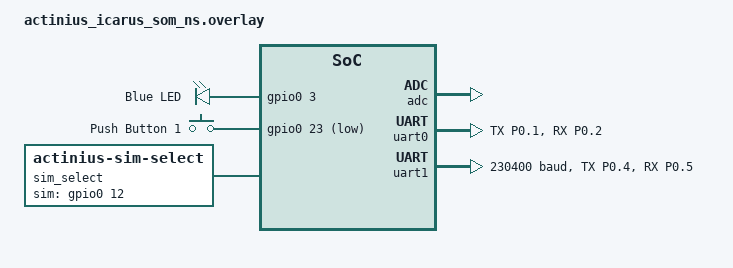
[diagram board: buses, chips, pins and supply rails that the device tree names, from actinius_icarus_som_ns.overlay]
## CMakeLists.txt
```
# SPDX-License-Identifier: Apache-2.0

cmake_minimum_required(VERSION 3.20.0)

find_package(Zephyr REQUIRED HINTS $ENV{ZEPHYR_BASE})
project(nRF9160_LTE_Uart_Gateway_for_MultipleLteDevice)

target_sources(app PRIVATE src/main.c)

target_sources(app PRIVATE src/nrf91/nrf91_lte.c)
target_sources(app PRIVATE src/nrf91/nrf91_at_commands.c)
target_sources(app PRIVATE src/nrf91/nrf91_util.c)

target_sources(app PRIVATE src/gateway.c)
target_sources(app PRIVATE src/arp_cache.c)
target_sources(app PRIVATE src/pmap.c)
target_sources(app PRIVATE src/hdr_uart.c)
target_sources(app PRIVATE src/ip_util.c)
```

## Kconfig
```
#
# Copyright (c) 2019 Nordic Semiconductor
#
# SPDX-License-Identifier: LicenseRef-Nordic-5-Clause
#

source "Kconfig.zephyr"

menu "nRF9160"

config SIM_SAKURA_IOT
	bool "SAKURA IoT SIM (44020,44051,44010)"
	default n

config SIM_SORACOM_PLAN_D
	bool "SORACOM PLAN-D SIM (44010)"
	default n

module = NRF91
module-str = nRF9160
source "${ZEPHYR_BASE}/subsys/logging/Kconfig.template.log_config"


endmenu
```

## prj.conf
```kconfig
#
# Copyright (c) 2020 Nordic Semiconductor ASA
#
# SPDX-License-Identifier: LicenseRef-Nordic-5-Clause
#

CONFIG_TRUSTED_EXECUTION_NONSECURE=y


#CONFIG_DEBUG=y
CONFIG_REBOOT=y

CONFIG_FPU=n
CONFIG_CMSIS_DSP=n

CONFIG_STACK_SENTINEL=y
CONFIG_NEWLIB_LIBC=y
CONFIG_NEWLIB_LIBC_FLOAT_PRINTF=y


CONFIG_GPIO=y

#CONFIG_PM_DEVICE=y

CONFIG_STDOUT_CONSOLE=y
CONFIG_SERIAL=y
CONFIG_NRFX_UARTE0=y
CONFIG_NRFX_UARTE1=y
#CONFIG_NRFX_UARTE2=y
CONFIG_LOG=y
CONFIG_LOG_MODE_IMMEDIATE=y
CONFIG_LOG_DEFAULT_LEVEL=3
CONFIG_PRINTK=y
CONFIG_UART_CONSOLE=y
CONFIG_CONSOLE_HANDLER=n
CONFIG_UART_LINE_CTRL=y
CONFIG_UART_INTERRUPT_DRIVEN=y
CONFIG_UART_ASYNC_API=n
CONFIG_UART_1_INTERRUPT_DRIVEN=y
#CONFIG_UART_1_ASYNC=n

CONFIG_USE_SEGGER_RTT=n
#CONFIG_RTT_CONSOLE=n
#CONFIG_LOG_BACKEND_RTT=n

CONFIG_NETWORKING=y
CONFIG_NET_SOCKETS=y
CONFIG_NET_SOCKETS_OFFLOAD=y
CONFIG_NET_NATIVE=n


CONFIG_NRF_MODEM_LIB=y
CONFIG_POSIX_MAX_FDS=10
CONFIG_NRF_MODEM_LIB_ON_FAULT_APPLICATION_SPECIFIC=n

#CONFIG_HEAP_MEM_POOL_SIZE=4096
CONFIG_HEAP_MEM_POOL_SIZE=4096
CONFIG_MAIN_STACK_SIZE=4096
#CONFIG_MAIN_STACK_SIZE=16384
#CONFIG_MAIN_STACK_SIZE=4096
#CONFIG_MAIN_STACK_SIZE=20000
#CONFIG_SYSTEM_WORKQUEUE_STACK_SIZE=4096

CONFIG_LTE_LINK_CONTROL=y
#CONFIG_LTE_AUTO_INIT_AND_CONNECT=n
#CONFIG_MAIN_THREAD_PRIORITY=7
#CONFIG_LTE_PSM_REQ_RPTAU="00100110"
#CONFIG_LTE_PSM_REQ_RAT="00000000"
#CONFIG_LTE_LC_TAU_PRE_WARNING_NOTIFICATIONS=y
#CONFIG_LTE_LC_MODEM_SLEEP_NOTIFICATIONS=y
#CONFIG_AT_HOST_LIBRARY=n

CONFIG_DATE_TIME=n
CONFIG_MODEM_INFO=y
CONFIG_MODEM_INFO_ADD_DATE_TIME=n
CONFIG_AT_MONITOR=y
CONFIG_MODEM_JWT=n

CONFIG_NEWLIB_LIBC_MIN_REQUIRED_HEAP_SIZE=2048

CONFIG_SIM_SORACOM_PLAN_D=y
CONFIG_SIM_SAKURA_IOT=n
```

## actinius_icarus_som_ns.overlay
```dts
// To get started, press Ctrl+Space (or Option+Esc) to bring up the completion menu and view the available nodes.

// You can also use the buttons in the sidebar to perform actions on nodes.
// Actions currently available include:

// * Enabling / disabling the node
// * Adding the bus to a bus
// * Removing the node
// * Connecting ADC channels

// For more help, browse the DeviceTree documentation at https://docs.zephyrproject.org/latest/guides/dts/index.html
// You can also visit the nRF DeviceTree extension documentation at https://nrfconnect.github.io/vscode-nrf-connect/devicetree/nrfdevicetree.html
/*
 * Copyright (c) 2022 Actinius
 *
 * SPDX-License-Identifier: Apache-2.0
 */
 /delete-node/ &storage_partition;
 / {
     chosen {
         zephyr,console = &uart0;
         //zephyr,shell-uart = &uart1;
         //zephyr,uart-mcumgr = &uart1;
         //nordic,pm-ext-flash = &w25q64;
     };
 
     leds {
         compatible = "gpio-leds";
 
         blue_led: led_0 {
             gpios = <&gpio0 3 GPIO_ACTIVE_HIGH>;
             label = "Blue LED";
         };
     };
 
     buttons {
         compatible = "gpio-keys";
 
         button0: button_0 {
             gpios = <&gpio0 23 (GPIO_PULL_UP | GPIO_ACTIVE_LOW)>;
             label = "Push Button 1";
         };
     };
 
     aliases {
         led0 = &blue_led;
         sw0 = &button0;
         bootloader-led0 = &blue_led;
         mcuboot-button0 = &button0;
         mcuboot-led0 = &blue_led;
         watchdog0 = &wdt0;
     };
     sim_select: sim-select {
         compatible = "actinius-sim-select";
         sim-gpios = <&gpio0 12 GPIO_ACTIVE_HIGH>;
         sim = "external";
     };
 };
 


 &adc {
     status ="okay";
 };
 
 &gpiote {
     status = "okay";
 };
 
 &gpio0 {
     status = "okay";
 };
 
// &uart0 {
//     status = "disabled";
// };
// &uart1 {
//    status = "okay";
//
//    current-speed = <115200>;
//    pinctrl-0 = <&uart1_default>;
//    pinctrl-1 = <&uart1_sleep>;
//    pinctrl-names = "default", "sleep";
//};
 
 &i2c2 {
     status = "disabled";
 };

//&spi2 {
//    compatible = "nordic,nrf-spim";
//    status = "okay";
//
//    cs-gpios = <&gpio0 0 GPIO_ACTIVE_LOW>;
//
//    pinctrl-0 = <&spi2_default>;
//    pinctrl-1 = <&spi2_sleep>;
//    pinctrl-names = "default", "sleep";
//}; 


 &spi3 {
     compatible = "nordic,nrf-spim";
     status = "disabled";
 
     //cs-gpios = <&gpio0 24 GPIO_ACTIVE_LOW>;
 
     //pinctrl-0 = <&spi3_default>;
     //pinctrl-1 = <&spi3_sleep>;
     //pinctrl-names = "default", "sleep";
     //w25q64: w25q64jv@0 {
     //    compatible = "jedec,spi-nor";
     //    reg = <0>;
     //    spi-max-frequency = <80000000>;
     //    jedec-id = [ef 40 17];
     //    size = <0x4000000>;
     //    has-dpd;
     //    t-enter-dpd = <3500>;
     //    t-exit-dpd = <3500>;
     //};
 };

&spi1 {
    status = "disabled";
};
&uart0 {
	pinctrl-0 = <&uart00_default>;
	pinctrl-1 = <&uart00_sleep>;
};
gw_uart: &uart1 {
	compatible = "nordic,nrf-uarte";
	reg = <0x9000 0x1000>;
	interrupts = <9 NRF_DEFAULT_IRQ_PRIORITY>;
	pinctrl-0 = <&uart1_default>;
	pinctrl-1 = <&uart1_sleep>;
	//current-speed = <1000000>;
	//current-speed = <460800>;
	current-speed = <230400>;
	//current-speed = <115200>;
	status = "okay";
	pinctrl-names = "default", "sleep";
};


&pinctrl {
	uart00_default: uart00_default {
		group1 {
			psels = <NRF_PSEL(UART_TX, 0, 1)>,
				<NRF_PSEL(UART_RX, 0, 2)>;
		};
	};
	uart00_sleep: uart00_sleep {
		group1 {
			psels = <NRF_PSEL(UART_TX, 0, 1)>,
				<NRF_PSEL(UART_RX, 0, 2)>;
			low-power-enable;
		};
	};
	uart1_default: uart1_default {
		group1 {
			psels = <NRF_PSEL(UART_TX, 0, 4)>,
				<NRF_PSEL(UART_RX, 0, 5)>;
		};
	};
	uart1_sleep: uart1_sleep {
		group1 {
			psels = <NRF_PSEL(UART_TX, 0, 4)>,
				<NRF_PSEL(UART_RX, 0, 5)>;
			low-power-enable;
		};
	};
	//spi2_default: spi2_default {
	//	group1 {
	//		psels = <NRF_PSEL(SPIM_SCK, 0, 20)>,
	//			<NRF_PSEL(SPIM_MOSI, 0, 19)>,
	//			<NRF_PSEL(SPIM_MISO, 0, 18)>;
	//	};
	//};
	//spi2_sleep: spi2_sleep {
	//	group1 {
	//		psels = <NRF_PSEL(SPIM_SCK, 0, 20)>,
	//			<NRF_PSEL(SPIM_MOSI, 0, 19)>,
	//			<NRF_PSEL(SPIM_MISO, 0, 18)>;
	//		low-power-enable;
	//	};
 //   };

    // spi1_default: spi1_default {
    //     group1 {
    //         psels = <NRF_PSEL(SPIM_SCK, 0,27)>,
    //             <NRF_PSEL(SPIM_MISO, 0, 26)>,
    //             <NRF_PSEL(SPIM_MOSI, 0, 0)>;
    //     };
    // };
    // spi1_sleep: spi1_sleep {
    //     group1 {
    //         psels = <NRF_PSEL(SPIM_SCK, 0,27)>,
    //             <NRF_PSEL(SPIM_MISO, 0, 26)>,
    //             <NRF_PSEL(SPIM_MOSI, 0, 0)>;
    //         low-power-enable;
    //     };
    // };

	//spi3_default: spi3_default {
	//	group1 {
	//		psels = <NRF_PSEL(SPIM_SCK, 0, 22)>,
	//			<NRF_PSEL(SPIM_MOSI, 0, 25)>,
	//			<NRF_PSEL(SPIM_MISO, 0, 21)>;
	//	};
	//};
	//spi3_sleep: spi3_sleep {
	//	group1 {
	//		psels = <NRF_PSEL(SPIM_SCK, 0, 22)>,
	//			<NRF_PSEL(SPIM_MOSI, 0, 25)>,
	//			<NRF_PSEL(SPIM_MISO, 0, 21)>;
	//		low-power-enable;
	//	};
	//};
};
 
```

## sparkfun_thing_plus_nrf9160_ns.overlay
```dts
// To get started, press Ctrl+Space (or Option+Esc) to bring up the completion menu and view the available nodes.

// You can also use the buttons in the sidebar to perform actions on nodes.
// Actions currently available include:

// * Enabling / disabling the node
// * Adding the bus to a bus
// * Removing the node
// * Connecting ADC channels

// For more help, browse the DeviceTree documentation at https://docs.zephyrproject.org/latest/guides/dts/index.html
// You can also visit the nRF DeviceTree extension documentation at https://nrfconnect.github.io/vscode-nrf-connect/devicetree/nrfdevicetree.html
///delete-node/ &uart2_default;
///delete-node/ &uart2_sleep;
/ {
    chosen {
        zephyr,console = &uart2;
        zephyr,shell-uart = &uart2;
        zephyr,uart-mcumgr = &uart2;
        nordic,pm-ext-flash = &w25q32jv;
    };
};
&uart0 {
	status = "disabled";
};
//&uart0 {
//	compatible = "nordic,nrf-uarte";
//	reg = <0x8000 0x1000>;
//	interrupts = <8 NRF_DEFAULT_IRQ_PRIORITY>;
//	pinctrl-0 = <&uart00_default>;
//	pinctrl-1 = <&uart00_sleep>;
//	status = "okay";
//	current-speed = <115200>;
//	pinctrl-names = "default", "sleep";
//};
&uart2 {
	compatible = "nordic,nrf-uarte";
	reg = <0xA000 0x1000>;
	interrupts = <10 NRF_DEFAULT_IRQ_PRIORITY>;
	pinctrl-0 = <&uart00_default>;
	pinctrl-1 = <&uart00_sleep>;
	status = "okay";
	current-speed = <115200>;
	pinctrl-names = "default", "sleep";
};
&i2c1 {
	status = "disabled";
};
gw_uart: &uart1 {
	compatible = "nordic,nrf-uarte";
	reg = <0x9000 0x1000>;
	interrupts = <9 NRF_DEFAULT_IRQ_PRIORITY>;
	pinctrl-0 = <&uart1_default>;
	pinctrl-1 = <&uart1_sleep>;
	status = "okay";
	//current-speed = <1000000>;
	//current-speed = <460800>;
	current-speed = <230400>;
	//current-speed = <115200>;
	pinctrl-names = "default", "sleep";
};
&spi3 {
	status = "okay";
	w25q32jv: w25q32jv@0 {
		status = "okay";
	};
};
&pinctrl {
	uart00_default: uart00_default {
		group1 {
			psels = <NRF_PSEL(UART_TX, 0, 0)>,
				<NRF_PSEL(UART_RX, 0, 1)>;
		};
	};
	uart00_sleep: uart00_sleep {
		group1 {
			psels = <NRF_PSEL(UART_TX, 0, 0)>,
				<NRF_PSEL(UART_RX, 0, 1)>;
		};
	};
	uart1_default: uart1_default {
		group1 {
			psels = <NRF_PSEL(UART_TX, 0, 24)>,
				<NRF_PSEL(UART_RX, 0, 23)>;
		};
	};
	uart1_sleep: uart1_sleep {
		group1 {
			psels = <NRF_PSEL(UART_TX, 0, 24)>,
				<NRF_PSEL(UART_RX, 0, 23)>;
		};
	};
};
```

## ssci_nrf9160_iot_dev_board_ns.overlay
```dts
// To get started, press Ctrl+Space (or Option+Esc) to bring up the completion menu and view the available nodes.

// You can also use the buttons in the sidebar to perform actions on nodes.
// Actions currently available include:

// * Enabling / disabling the node
// * Adding the bus to a bus
// * Removing the node
// * Connecting ADC channels

// For more help, browse the DeviceTree documentation at https://docs.zephyrproject.org/latest/guides/dts/index.html
// You can also visit the nRF DeviceTree extension documentation at https://nrfconnect.github.io/vscode-nrf-connect/devicetree/nrfdevicetree.html
/ {
    chosen {
        zephyr,console = &uart0;
        //zephyr,shell-uart = &uart0;
        //zephyr,uart-mcumgr = &uart0;
        //nordic,pm-ext-flash = &mx25r64;
    };
};
/delete-node/ &uart0_default;
/delete-node/ &uart0_sleep;
&uart0 {
	compatible = "nordic,nrf-uarte";
	reg = <0x8000 0x1000>;
	interrupts = <8 NRF_DEFAULT_IRQ_PRIORITY>;
	pinctrl-0 = <&uart00_default>;
	pinctrl-1 = <&uart00_sleep>;
	status = "okay";
	current-speed = <115200>;
	pinctrl-names = "default", "sleep";
};
&i2c2 {
	status = "disabled";
};

gw_uart: &uart1 {
	compatible = "nordic,nrf-uarte";
	reg = <0x9000 0x1000>;
	interrupts = <9 NRF_DEFAULT_IRQ_PRIORITY>;
	pinctrl-0 = <&uart1_default>;
	pinctrl-1 = <&uart1_sleep>;
	status = "okay";
	//current-speed = <1000000>;
	//current-speed = <460800>;
	current-speed = <230400>;
	//current-speed = <115200>;
	pinctrl-names = "default", "sleep";
};
&spi3 {
	status = "okay";
	mx25r64: mx25r6435f@0 {
		status = "okay";
	};
};
&pinctrl {
	uart00_default: uart00_default {
		group1 {
			psels = <NRF_PSEL(UART_TX, 0, 29)>,
				<NRF_PSEL(UART_RX, 0, 28)>;
		};
	};
	uart00_sleep: uart00_sleep {
		group1 {
			psels = <NRF_PSEL(UART_TX, 0, 29)>,
				<NRF_PSEL(UART_RX, 0, 28)>;
		};
	};
	uart1_default: uart1_default {
		group1 {
			psels = <NRF_PSEL(UART_TX, 0, 7)>,
				<NRF_PSEL(UART_RX, 0, 5)> ;
		};
	};
	uart1_sleep: uart1_sleep {
		group1 {
			psels = <NRF_PSEL(UART_TX, 0, 7)>,
				<NRF_PSEL(UART_RX, 0, 5)>;
		};
	};
};
```

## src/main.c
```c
/*
 * Copyright (c) 2024 Akihiro Sakaniwa
 *
 * SPDX-License-Identifier: MIT License
 */
#include <zephyr/logging/log.h>
#include <zephyr/logging/log_ctrl.h>
#include <zephyr/net/net_pkt.h>
#include <stdio.h>
#include <stdlib.h>
#include <string.h>
#include <stdio.h>

#include <zephyr/kernel.h>
#include <zephyr/device.h>
#include <zephyr/devicetree.h>
#include <zephyr/drivers/uart.h>
#include <zephyr/drivers/gpio.h>

#include <modem/at_monitor.h>
#include <nrf_modem.h>
#include <nrf_errno.h>
#include <hal/nrf_gpio.h>
#include <hal/nrf_power.h>
#include <hal/nrf_regulators.h>
#include <modem/nrf_modem_lib.h>
#include <dfu/dfu_target.h>
#include <zephyr/sys/reboot.h>
#include <zephyr/init.h>
#include <zephyr/sys/reboot.h>
#include "ncs_version.h"

#include <nrf_socket.h>
#include <zephyr/net/socket.h>

#include "nrf91/nrf91_lte.h"

#include <modem/at_monitor.h>
#include <modem/modem_info.h>

#include "nrf91/nrf91_lte.h"
#include "nrf91/nrf91_util.h"

#include "main.h"
LOG_MODULE_REGISTER(main, CONFIG_NRF91_LOG_LEVEL);

volatile bool on_req_eth_thread_terminate = false;
volatile bool on_eth_rx_thread_terminate = false;
volatile bool on_eth_tx_thread_terminate = false;
extern int gw_start(void);



const struct device *gpio_dev;
const struct device *gw_uart_dev;

extern struct nrf91_lte_ctx lte_ctx;
extern struct nrf91_http_ctx http_ctx;

extern void nrf91_lte_main(int (*cbf)(void));
extern bool nrf91_lte_thread_start(void);

volatile bool is_on_buttun_up = false;
volatile bool is_on_buttun_up_mask = false;

//////////////////////////////////////////////////////////////////////////////////////////////////////
void button_callback_handler(const struct device *port, struct gpio_callback *cb, gpio_port_pins_t pins)
{
  printk("\r\n(%08x)!\r\n",pins);
  if ((BIT(btn_pin) & pins) > 0) 
  {
      if (!is_on_buttun_up_mask) is_on_buttun_up = true;
  }
}
static struct gpio_callback button_callback;
////////////////////////////////////////////////////////////////////////////////////////////////////
void error_handler(void)
{
    LOG_WRN("\r\n### POWER-OFF ###\r\n");
    while (1)
    {
        k_sleep(K_MSEC(100));
    }
}
////////////////////////////////////////////////////////////////////////////////////////////////////
void status_pin_on(void)
{
    gpio_pin_set(gpio_dev,status_pin,1);
}
void status_pin_off(void)
{
    gpio_pin_set(gpio_dev,status_pin,0);
}
void status_led_on(void)
{
    gpio_pin_set(gpio_dev,status_led_pin,1);
}
void status_led_off(void)
{
    gpio_pin_set(gpio_dev,status_led_pin,0);
}
int read_btn(void)
{
  return gpio_pin_get(gpio_dev, btn_pin);
}
extern uint8_t my_addr[4];
extern uint8_t uart_txb[2048];
extern volatile uint16_t uart_txb_size;
#include "hdr_uart.h"
static int cbf_main(void)
{
    k_sleep(K_MSEC(10*1000));
    return 0;
}
////////////////////////////////////////////////////////////////////////////////////////////////////
extern void gw_uart_serial_cb(const struct device *dev, void *user_data);
int main(void)
{
    printk("%s\r\n", CONFIG_BOARD);

#ifdef CONFIG_SERIAL
    NRF_UARTE0_NS->TASKS_STOPRX = 1;
    //NRF_UARTE1_NS->TASKS_STOPRX = 1;
    //NRF_UARTE1_NS->TASKS_STOPRX = 1;
#endif

    gpio_dev = DEVICE_DT_GET(DT_NODELABEL(gpio0)); 
    #ifdef CONFIG_BOARD_SPARKFUN_THING_PLUS_NRF9160_NS
    gpio_pin_configure(gpio_dev, status_led_pin , GPIO_OUTPUT | GPIO_PUSH_PULL | GPIO_ACTIVE_LOW);
    gpio_pin_configure(gpio_dev, btn_pin , GPIO_INPUT  | GPIO_PULL_UP   | GPIO_ACTIVE_HIGH);
    //gpio_pin_configure(gpio_dev, buz_pin , GPIO_OUTPUT | GPIO_PUSH_PULL | GPIO_ACTIVE_HIGH);
    #else
    gpio_pin_configure(gpio_dev, status_led_pin , GPIO_OUTPUT | GPIO_PUSH_PULL | GPIO_ACTIVE_HIGH);
    gpio_pin_configure(gpio_dev, btn_pin , GPIO_INPUT  | GPIO_PULL_UP   | GPIO_ACTIVE_HIGH);
    //gpio_pin_configure(gpio_dev, buz_pin , GPIO_OUTPUT | GPIO_PUSH_PULL | GPIO_ACTIVE_HIGH);
    #endif
    gpio_pin_configure(gpio_dev, status_pin , GPIO_OUTPUT | GPIO_PUSH_PULL | GPIO_ACTIVE_LOW);
    status_pin_off();
    status_led_off();

	gw_uart_dev = DEVICE_DT_GET(DT_NODELABEL(gw_uart));
	if (!device_is_ready(gw_uart_dev)) {
		printk("GW-UART device not found!");
		return 0;
	}

    gpio_init_callback(&button_callback, button_callback_handler, BIT(btn_pin));
    gpio_add_callback(gpio_dev, &button_callback);
    gpio_pin_interrupt_configure(gpio_dev, btn_pin, GPIO_INT_EDGE_RISING);

    int ret = nrf_modem_lib_init();
    if (ret)
    {
        LOG_ERR("Modem library init failed, err: %d", ret);
        if (ret != -EAGAIN && ret != -EIO)
        {
            return ret;
        }
        else if (ret == -EIO)
        {
            LOG_ERR("Please program full modem firmware with the bootloader or external tools");
        }
    }
    int err = modem_info_init();
    if (err)
    {
        LOG_ERR("Failed to init modem_info_init: %d", err);
        return(0);
    }
    if (0 != gw_start()) return 0;
    nrf91_lte_main(cbf_main);

    return 0;
}
// EOF //
```

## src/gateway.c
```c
/*
 * Copyright (c) 2024 Akihiro Sakaniwa
 *
 * SPDX-License-Identifier: MIT License
 */
#include <zephyr/logging/log.h>
#include <zephyr/logging/log_ctrl.h>

#include <stdio.h>
#include <stdlib.h>
#include <string.h>
#include <stdio.h>

#include <zephyr/kernel.h>
#include <modem/modem_info.h>
#include <zephyr/posix/poll.h>

#include <zephyr/net/socket.h>
#include <zephyr/posix/poll.h>
#include <zephyr/posix/sys/socket.h>

#include "nrf91/nrf91_lte.h"
#include "main.h"
#include "hdr_uart.h"
#include "ip_util.h"

LOG_MODULE_REGISTER(gateway, CONFIG_NRF91_LOG_LEVEL);

K_MSGQ_DEFINE(uart_cmd_msgq, 1, 8, 1);
K_MSGQ_DEFINE(uart_pkt_msgq, NRF9160_MTU, 8, 128);
K_MSGQ_DEFINE(lte_msgq     , NRF9160_MTU, 8, 128);

extern const struct device *gw_uart_dev;

#define RX_THREAD_STACK_SIZE    KB(4)
#define TX_THREAD_STACK_SIZE    KB(4)
#define THREAD_PRIORITY     K_LOWEST_APPLICATION_THREAD_PRIO
//#define THREAD_PRIORITY     CONFIG_NUM_PREEMPT_PRIORITIES
//#define THREAD_PRIORITY     K_HIGHEST_APPLICATION_THREAD_PRIO

static struct k_thread lte_rx_thread;
static K_THREAD_STACK_DEFINE(lte_rx_thread_stack, RX_THREAD_STACK_SIZE);
static k_tid_t lte_rx_thread_id;

static struct k_thread lte_tx_thread;
static K_THREAD_STACK_DEFINE(lte_tx_thread_stack, TX_THREAD_STACK_SIZE);
static k_tid_t lte_tx_thread_id;


extern uint8_t my_addr[4];
//static volatile bool raw_socket_lock = false;
static volatile int raw_socket = -1;
//static volatile bool lock_lte_txb = false;

static volatile bool on_req_gw_thread_terminate = false;
static volatile bool on_lte_rx_thread_terminate = false;
static volatile bool on_lte_tx_thread_terminate = false;

////////////////////////////////////////////////////////////////////////////////
static uint8_t uart_txb[NRF9160_MTU];
static uint8_t lte_txb[NRF9160_MTU];
static void gw_lte_tx_thread(void *p1, void *p2, void *p3)
{
    on_lte_tx_thread_terminate = false;
    ARG_UNUSED(p1);
    ARG_UNUSED(p2);
    ARG_UNUSED(p3);
    while (!on_req_gw_thread_terminate)
    {
        while (k_msgq_get(&uart_pkt_msgq, &uart_txb, K_NO_WAIT) == 0)
        {
            uint16_t pkt_sz = ((uint16_t)uart_txb[2] << 8) + (uint16_t)uart_txb[3];
            uart_poll_out(gw_uart_dev,STX);
            for (int i=0;i<(pkt_sz);i++)
            {
                gw_write_frame_byte(uart_txb[i]);
            }
            uart_poll_out(gw_uart_dev,ETX);
//printk("++ ETH SEND ++\r\n");
//for (int i = 0; i < MIN(1280,pkt_sz) ; i++)
//{
//    if (i % 16 == 0) printk("\r\n");
//    printk("%02x ",uart_txb[i]);
//
//}
//printk("\r\n++++++++++\r\n");
        }
        while (k_msgq_get(&lte_msgq, &lte_txb, K_NO_WAIT) == 0)
        {
            if (is_cgev_act() && !is_cgev_detach() && raw_socket != -1)
            {
                uint16_t pkt_sz = ((uint16_t)lte_txb[2] << 8) + (uint16_t)lte_txb[3];
//printk("XX LTE SEND XX\r\n");
//for (int i = 0; i < MIN(1280,pkt_sz) ; i++)
//{
//    if (i % 16 == 0) printk("\r\n");
//    printk("%02x ",lte_txb[i]);
//
//}
//printk("\r\nXXXXXXX\r\n");
                ssize_t sz = send(raw_socket,lte_txb,pkt_sz,0);
//printk("lte send %d / %u\r\n",sz, pkt_sz);
                if (sz <= 0)
                {
                    LOG_WRN("send err (%d) (%d)",-errno,sz);
                }
            }
        }
        k_sleep(K_MSEC(100));
    }
    on_lte_tx_thread_terminate = true;
}

static volatile bool gw_l0_rx_in_frame = false;
static volatile bool gw_l0_rx_in_escape = false;
static volatile uint16_t gw_packet_sz = 0;
static uint8_t gw_packet[GW_MAX_PACKET_SIZE];
void gw_uart_serial_cb(const struct device *dev, void *user_data)
{
	if (!uart_irq_update(gw_uart_dev))
    {
		return;
	}
    if (!uart_irq_rx_ready(gw_uart_dev))
    {
        return;
    }
    uint8_t c;
    while (1 == uart_fifo_read(gw_uart_dev,&c,1))
    {
        //if (0 != uart_poll_in(gw_uart_dev,&c))
        //{
        //    break;
        //}
        // L0 DATAFRAME OPERATION
        if (!gw_l0_rx_in_frame)
        {
//printk("-- L0 %02X\r\n",c);
            switch (c)
            {
            case 0x00:
                continue;
            case STX:
                gw_packet_sz = 0;
                gw_l0_rx_in_frame = true;
                continue;
            default:
                // L0 frame-error ---> ignore
                continue;
            }
        }
        if (gw_l0_rx_in_escape)
        {
            switch (c)
            {
            case STX:
            case ETX:
            case DLE:
//printk("-- L0 ESC %02X\r\n",c);
                gw_l0_rx_in_escape = false;
                gw_l0_rx_in_frame  = true;
                break;
            default:
printk("-- L0 ESC ERROR %02X\r\n",c);
                // L0 frame error  --> send-nack, igrone current-frame
                gw_l0_rx_in_escape = false;
                gw_l0_rx_in_frame = false;
                compiler_barrier();
                continue;
                break;
            }
        }
        else // if (!rx_in_escape)
        {
            switch (c)
            {
            case STX:
                // L0 frame error  --> send-nack, igrone current-frame
                gw_l0_rx_in_escape = false;
                gw_l0_rx_in_frame = false;
printk("-- L0 FRAME ERROR %02X\r\n",c);
                continue;
            case ETX:
                // L0 end of frame
                //Serial.print("[ETX]");
                gw_l0_rx_in_frame = false;
                break;;
            case DLE:
                // L0 start escape
                gw_l0_rx_in_escape = true;
                continue;
            default:
                // L1 data
                break;
            }
        }

        // L1 PACKET OPERATION
        if (!gw_l0_rx_in_frame && ETX == c)
        {
//printk("uart_pkt[0] = %02X \r\n",gw_packet[0]);
            compiler_barrier();
            gw_l0_rx_in_escape = false;
            gw_l0_rx_in_frame = false;
            compiler_barrier();
            if (*(uint32_t*)my_addr == 0 || !is_cgev_act() || is_cgev_detach())
            {
                continue;
            }
//printk("XXXXXXX\r\n");
//for (int i = 0; i < gw_packet_sz - 1; i++)
//{
//    if (i % 16 == 0) printk("\r\n");
//    printk("%02x ",gw_packet[1+i]);
//
//}
//printk("\r\nXXXXXXX\r\n");
            uint16_t ip_pkt_len = ((uint16_t)gw_packet[2] << 8) + ((uint16_t)gw_packet[3]);
            if (ip_pkt_len != gw_packet_sz)
            {
                continue;
            }
            uint16_t ip_hdr_len = (gw_packet[0] & 0x0F) * 4;


            memcpy(&gw_packet[12],my_addr,4);
            calc_ics(&gw_packet[0],ip_hdr_len,10);

            bool is_udp = gw_packet[9] == IPPROTO_UDP;
            bool is_tcp = gw_packet[9] == IPPROTO_TCP;
            if (is_tcp || is_udp)
            {
                gw_packet[ip_hdr_len + (is_udp ? 6 : 16)] = 0;
                gw_packet[ip_hdr_len + (is_udp ? 7 : 17)] = 0;
                pseudo_ip_hdr_t ip_hdr;
                memset(&ip_hdr,0,sizeof(ip_hdr));
                memcpy(ip_hdr.ip_src,&gw_packet[12],4);
                memcpy(ip_hdr.ip_dst,&gw_packet[16],4);
                ip_hdr.ip_p   = gw_packet[9];
                ip_hdr.ip_len = ip_htons(ip_pkt_len - ip_hdr_len);
                uint8_t * p_data = &gw_packet[ip_hdr_len];
                uint16_t cs = ip_checksum2((uint8_t *)&ip_hdr, sizeof(pseudo_ip_hdr_t), p_data, ip_pkt_len - ip_hdr_len);
                gw_packet[ip_hdr_len + (is_udp ? 7 : 17)] = (uint8_t)((cs >> 8) & 0xFF);
                gw_packet[ip_hdr_len + (is_udp ? 6 : 16)] = (uint8_t)(cs & 0xFF);
                //printk("CS = %04x\r\n",ip_checksum2((uint8_t *)&ip_hdr, sizeof(pseudo_ip_hdr_t), p_data, ip_pkt_len - ip_hdr_len));
            }
            else
            {
                calc_ics(&gw_packet[ip_hdr_len],ip_pkt_len - ip_hdr_len,2);
            }

            compiler_barrier();
            k_msgq_put(&lte_msgq, &gw_packet[0], K_NO_WAIT);
            compiler_barrier();
            gw_packet_sz = 0;
        }
        else
        {
            gw_packet[gw_packet_sz++] = c;
        }
    }// while
    compiler_barrier();
    compiler_barrier();
    compiler_barrier();
}
//static void gw_uart_rx_thread(void *p1, void *p2, void *p3)
//{
//    on_uart_rx_thread_terminate = false;
//    ARG_UNUSED(p1);
//    ARG_UNUSED(p2);
//    ARG_UNUSED(p3);
//    while (!on_req_gw_thread_terminate)
//    {
//        k_sleep(K_MSEC(1));
//    }
//}
extern void status_pin_on(void);
extern void status_pin_off(void);
static char rx_data[NRF9160_MTU];
static void gw_lte_rx_thread(void *p1, void *p2, void *p3)
{
    int ret = 0;
    static struct pollfd fds[1];

    uart_irq_callback_user_data_set(gw_uart_dev, gw_uart_serial_cb, NULL);
    uart_irq_rx_enable(gw_uart_dev);    

    on_lte_rx_thread_terminate = false;


    while(!on_req_gw_thread_terminate)
    {
        if (raw_socket >= 0) {
            (void)close(raw_socket);
            raw_socket = -1;
        }
        if (*(uint32_t*)my_addr == 0 || !is_cgev_act() || is_cgev_detach())
        {
            status_pin_off(); 
            k_sleep(K_MSEC(500));
            continue;
        }
        status_pin_on(); 
        /* Open socket */
        raw_socket = socket(AF_PACKET, SOCK_RAW, 0);
        if (raw_socket < 0) {
            LOG_ERR("socket(AF_PACKET, SOCK_RAW, 0) failed: %d", -errno);
            k_sleep(K_MSEC(500));
            continue;
        }

        while(!on_req_gw_thread_terminate)
        {
            if (*(uint32_t*)my_addr == 0 || !is_cgev_act() || is_cgev_detach())
            {
                k_sleep(K_MSEC(1000));
                break;
            }
            errno = 0;
            fds[0].fd = raw_socket;
            fds[0].events = POLLIN;
//printk(".");
            //ret = poll(&fds[0], 1, 500 * 1000*1000);//MSEC_PER_SEC * UDP_POLL_TIME);
            ret = poll(fds, 1, 100);//MSEC_PER_SEC * UDP_POLL_TIME);
            if (ret == 0) {  /* timeout */
                k_sleep(K_MSEC(1));
                continue;
            }
            else if (ret < 0) {  /* IO error */
                LOG_WRN("poll() error: (%d) (%d)", -errno, ret);
                break;
            }
            else if (ret > NRF9160_MTU)
            {
                LOG_INF("poll() : recv size %d > %u", ret, NRF9160_MTU);
                k_sleep(K_MSEC(1));
                continue;
            }
            /* Receive data */
//printk("[ R E C V ]\r\n");
            ret = recv(raw_socket, (void *)rx_data, sizeof(rx_data), 0);
            if (ret <= 0) {
                if (errno != EAGAIN && errno != EWOULDBLOCK)
                {
                    LOG_ERR( "recv() failed with errno (%d) and return value (%d)", -errno, ret);
                }
                break;
            }
            compiler_barrier();
//printk("[ R E C V ] -> FORWARD\r\n");
            k_msgq_put(&uart_pkt_msgq, rx_data, K_NO_WAIT);
            compiler_barrier();
            //gw_uart_send_packet(rx_data,ret);

            k_sleep(K_MSEC(1));
        }
        uart_irq_rx_disable(gw_uart_dev);    
        k_sleep(K_MSEC(1));
    }
    if (raw_socket != -1) {
        (void)close(raw_socket);
        raw_socket = -1;
    }
    LOG_INF("GW thread terminated");
    on_lte_rx_thread_terminate = true;
}
int gw_start(void)
{
    on_req_gw_thread_terminate = false;    
    raw_socket = -1;
    lte_rx_thread_id = k_thread_create(&lte_rx_thread, lte_rx_thread_stack,
            K_THREAD_STACK_SIZEOF(lte_rx_thread_stack),
            gw_lte_rx_thread, NULL, NULL, NULL,
            THREAD_PRIORITY, K_USER, K_NO_WAIT);
    lte_tx_thread_id = k_thread_create(&lte_tx_thread, lte_tx_thread_stack,
            K_THREAD_STACK_SIZEOF(lte_tx_thread_stack),
            gw_lte_tx_thread, NULL, NULL, NULL,
            THREAD_PRIORITY, K_USER, K_NO_WAIT);
    return 0;
}
```

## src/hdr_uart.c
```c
/*
 * Copyright (c) 2024 Akihiro Sakaniwa
 *
 * SPDX-License-Identifier: MIT License
 */
#include <zephyr/logging/log.h>
#include <zephyr/logging/log_ctrl.h>
#include <modem/modem_info.h>
#include <zephyr/net/net_ip.h>
#include <zephyr/posix/poll.h>
#include <zephyr/posix/sys/socket.h>

#include <stdio.h>
#include <stdlib.h>
#include <string.h>
#include <stdint.h>
#include <stdbool.h>

#include "nrf91/nrf91_lte.h"
#include "hdr_uart.h"
#include "ip_util.h"


LOG_MODULE_REGISTER(hdr_uart, CONFIG_NRF91_LOG_LEVEL);
extern const struct device *gw_uart_dev;


void gw_write_frame_byte(uint8_t c)
{
    switch (c)
    {
    case STX:
    case ETX:
    case DLE:
        uart_poll_out(gw_uart_dev,DLE);
        break;
    }
    uart_poll_out(gw_uart_dev,c);
    //k_yield();
}

static volatile bool gw_uart_lock = false;
void get_gw_uart_lock(void)
{
    __COMPILER_BARRIER();
    while (gw_uart_lock)
    {
        __COMPILER_BARRIER();
        k_sleep(K_MSEC(10));
        __COMPILER_BARRIER();
    }
    __COMPILER_BARRIER();
    __COMPILER_BARRIER();
    gw_uart_lock = true;
    __COMPILER_BARRIER();
}
void put_gw_uart_lock(void)
{
    __COMPILER_BARRIER();
    gw_uart_lock = false;
    __COMPILER_BARRIER();
}
```

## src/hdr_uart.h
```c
/*
 * Copyright (c) 2024 Akihiro Sakaniwa
 *
 * SPDX-License-Identifier: MIT License
 */
#ifndef __HDR_UART_H
#define __HDR_UART_H

#include <zephyr/drivers/uart.h>

#define GW_MAX_ERROR_COUNT          0x03
#define GW_MAX_PACKET_SIZE          (2048)
#define GW_MAX_SEND_BUFF_COUNT      (90)

#define STX 0x02
#define ETX 0x03
#define DLE 0x10

void get_gw_uart_lock(void);
void put_gw_uart_lock(void);
//bool gw_uart_send_packet(uint8_t* packet, size_t size);
void gw_write_frame_byte(uint8_t c);

#endif //__HDR_UART_H
```

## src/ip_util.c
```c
/*
 * Copyright (c) 2020 Nordic Semiconductor ASA
 *
 * SPDX-License-Identifier: LicenseRef-Nordic-5-Clause
 */

#include "ip_util.h"



/*****************************************************************************/
void calc_ics(uint8_t *buffer, int len, int hcs_pos)
{
	uint16_t *ptr_hcs = (uint16_t *)(buffer + hcs_pos);

	*ptr_hcs = 0; /* Clear checksum before calculation */
	uint16_t hcs;

	hcs = check_ics(buffer, len);
	*ptr_hcs = hcs;
}
/*****************************************************************************/
uint16_t check_ics(const uint8_t *buffer, int len)
{
	const uint32_t *ptr32 = (const uint32_t *)buffer;
	uint32_t hcs = 0;
	const uint16_t *ptr16;

	for (int i = len / 4; i > 0; i--) {
		uint32_t s = *ptr32++;

		hcs += s;
		if (hcs < s) {
			hcs++;
		}
	}

	ptr16 = (const uint16_t *)ptr32;

	if (len & 2) {
		uint16_t s = *ptr16++;

		hcs += s;
		if (hcs < s) {
			hcs++;
		}
	}

	if (len & 1) {
		const uint8_t *ptr8 = (const uint8_t *)ptr16;
		uint8_t s = *ptr8;

		hcs += s;
		if (hcs < s) {
			hcs++;
		}
	}

	while (hcs > 0xFFFF) {
		hcs = (hcs & 0xFFFF) + (hcs >> 16);
	}

	return ~hcs; /* One's complement */
}

/*****************************************************************************/

uint16_t ip_checksum2(uint8_t *data1, int len1, uint8_t *data2, int len2)
{
    register uint32_t sum;
    register uint16_t *ptr;
    register int c;

    sum = 0;
    ptr=(uint16_t *)data1;

    for(c = len1; c>1; c -= 2) {
        sum += (*ptr);
        if(sum&0x80000000) {
            sum=(sum&0xFFFF) + (sum>>16);
        }
        ptr++;
    }

    if(c == 1) {
        uint16_t val;
        val = ((*ptr)<<8) + (*data2);
        sum += val;
        if(sum&0x80000000) {
            sum = (sum&0xFFFF) + (sum>>16);
        }
        ptr = (uint16_t *)(data2 + 1);
        len2--;
    }
    else {
        ptr = (uint16_t *)data2;
    }

    for(c = len2; c>1; c -= 2) {
        sum += (*ptr);
        if(sum&0x80000000) {
            sum = (sum&0xFFFF) + (sum>>16);
        }
        ptr++;
    }

    if(c == 1) {
        uint16_t    val;
        val = 0;
        memcpy(&val, ptr, sizeof(uint8_t));
        sum += val;
    }

    while(sum>>16) {
        sum = (sum&0xFFFF) + (sum>>16);
    }

    return(~sum);
}
/*****************************************************************************/
uint16_t ip_htons( uint16_t hostshort)
{
#if 1
  //#ifdef LITTLE_ENDIAN
    uint16_t netshort=0;
    netshort = (hostshort & 0xFF) << 8;
    netshort |= ((hostshort >> 8)& 0xFF);
    return netshort;
#else
    return hostshort;
#endif
}
/*****************************************************************************/
```

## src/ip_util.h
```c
/*
 * Copyright (c) 2020 Nordic Semiconductor ASA
 *
 * SPDX-License-Identifier: LicenseRef-Nordic-5-Clause
 */

#ifndef __IP_UTIL_H
#define __IP_UTIL_H

#include <zephyr/kernel.h>

typedef struct __pseuso_ip_hdr_t {
    uint8_t    ip_src[4];
    uint8_t    ip_dst[4];
    uint8_t     dummy;
    uint8_t     ip_p;
    uint16_t    ip_len;
} pseudo_ip_hdr_t;

void calc_ics(uint8_t *buffer, int len, int hcs_pos);
uint16_t check_ics(const uint8_t *buffer, int len);
uint16_t ip_checksum2(uint8_t *data1, int len1, uint8_t *data2, int len2);
uint16_t ip_htons( uint16_t hostshort);
#endif //__IP_UTIL_H
```

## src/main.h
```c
/*
 * Copyright (c) 2024 Akihiro Sakaniwa
 *
 * SPDX-License-Identifier: MIT License
 */
#ifndef __MAIN_H
#define __MAIN_H
#include <zephyr/kernel.h>
#include <stdint.h>
////////////////////////////////////////////////////////////////////////////////////////////////////
#define NRF9160_MTU    (1280)

#ifdef CONFIG_BOARD_ACTINIUS_ICARUS_SOM_NS
static const uint8_t status_pin = 31;
static const uint8_t status_led_pin = 3;
static const uint8_t btn_pin = 23;
#endif //CONFIG_BOARD_ACTINIUS_ICARUS_SOM_NS
#ifdef CONFIG_BOARD_SPARKFUN_THING_PLUS_NRF9160_NS
static const uint8_t status_pin = 13;
static const uint8_t status_led_pin = 3;
static const uint8_t btn_pin = 12;
#endif //CONFIG_BOARD_SPARKFUN_THING_PLUS_NRF9160_NS
#ifdef CONFIG_BOARD_CIRCUITDOJO_FEATHER_NRF9160_NS
static const uint8_t status_pin = 13;
static const uint8_t status_led_pin = 3;
static const uint8_t btn_pin = 12;
#endif
#ifndef CONFIG_BOARD_ACTINIUS_ICARUS_SOM_NS
#ifndef CONFIG_BOARD_SPARKFUN_THING_PLUS_NRF9160_NS
#ifndef CONFIG_BOARD_CIRCUITDOJO_FEATHER_NRF9160_NS
static const uint8_t status_pin = 3;
static const uint8_t status_led_pin = 2; // SSCI IoT Board
static const uint8_t btn_pin = 6; // SSICC IoT Board
#endif
#endif
#endif
////////////////////////////////////////////////////////////////////////////////////////////////////
typedef struct  L1_PAYLOAD
{
    uint16_t size;
    uint8_t  data[NRF9160_MTU+14];
} L1_PAYLOAD_t;
typedef struct  L2_PAYLOAD
{
    uint16_t size;
    uint8_t  data[NRF9160_MTU];
} L2_PAYLOAD_t;
////////////////////////////////////////////////////////////////////////////////////////////////////

#endif //__MAIN_H
```

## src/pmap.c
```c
/*
 * Copyright (c) 2024 Akihiro Sakaniwa
 *
 * SPDX-License-Identifier: MIT License
 */

#include "pmap.h"
#include <zephyr/logging/log.h>
#include <zephyr/logging/log_ctrl.h>

LOG_MODULE_REGISTER(pmap, CONFIG_NRF91_LOG_LEVEL);
extern struct net_context* ctx_tx;
extern struct net_if *eth_iface;
pmap_tbl_t pmap;

static bool is_timeout(uint32_t timeout_ms,uint32_t start_ms,uint32_t current_ms)
{
    if (start_ms <= current_ms)
    {
        return ((current_ms - start_ms) >= timeout_ms);
    }
    else
    {
        return ((0xFFFFFFFFUL - start_ms + current_ms + 1) >= timeout_ms);
    }
}
static void __gc_pmap(uint32_t timeout_ms)
{
    for (int i = 0; i < MAX_PMAP_ROWS; i++)
    {
        if (pmap.row[i].ip_protocol == 0) continue;
        if (is_timeout(timeout_ms,pmap.row[i].ts,k_uptime_get_32()))
        {
            pmap.row[i].ip_protocol = 0;
            pmap.row[i].server_ip   = 0;
            pmap.row[i].client_ip   = 0;
            pmap.row[i].lte_port    = 0;
            pmap.row[i].eth_port    = 0;
        }
    }
}
pmap_row_t* search_pmap_empty(void)
{
    __gc_pmap(PMAP_TIMEOUT_MS);
    for (int i = 0; i < MAX_PMAP_ROWS; i++)
    {
        if (pmap.row[i].ip_protocol == 0) return &pmap.row[i];
    }
    return NULL;
}
pmap_row_t* search_pmap_by_server_info(uint8_t ip_protocol,uint32_t server_ip,uint16_t lte_port)
{
    __gc_pmap(PMAP_TIMEOUT_MS);
    for (int i = 0; i < MAX_PMAP_ROWS; i++)
    {
        uint8_t protocol = pmap.row[i].ip_protocol;
        uint16_t port = pmap.row[i].lte_port;
        uint32_t ip = pmap.row[i].server_ip;
        if (protocol == 0) continue;
        if (protocol == ip_protocol && ip == server_ip && port == lte_port) 
        {
//printk("HIT search_pmap_by_server_info\r\n");
            pmap.row[i].ts = k_uptime_get_32();
            return &pmap.row[i];
        }
    }
    return NULL;
}
pmap_row_t* search_pmap_by_client_info(uint8_t ip_protocol,uint32_t client_ip,uint16_t eth_port)
{
    __gc_pmap(PMAP_TIMEOUT_MS);
    for (int i = 0; i < MAX_PMAP_ROWS; i++)
    {
        uint8_t protocol = pmap.row[i].ip_protocol;
        uint16_t port = pmap.row[i].eth_port;
        uint32_t ip = pmap.row[i].client_ip;
        if (protocol == 0) continue;
        if (protocol == ip_protocol && ip == client_ip && port == eth_port) 
        {
//printk("HIT search_pmap_by_client_info\r\n");
            pmap.row[i].ts = k_uptime_get_32();
            return &pmap.row[i];
        }
    }
    return NULL;
}
pmap_row_t* update_pmap_by_serevr_info(uint8_t ip_protocol,uint32_t server_ip, uint16_t lte_port)
{
    __gc_pmap(PMAP_TIMEOUT_MS);
    for (int i = 0; i < MAX_PMAP_ROWS; i++)
    {
        uint8_t protocol = pmap.row[i].ip_protocol;
        uint16_t port = pmap.row[i].lte_port;
        uint32_t ip = pmap.row[i].server_ip;
        if (protocol == 0)
        {
            continue;
        }
        if (protocol == ip_protocol && ip == server_ip && port == lte_port)
        {
//printk("HIT update_pmap_by_serevr_info\r\n");
            pmap.row[i].ts = k_uptime_get_32();
            return &pmap.row[i];
        }
    }
    return NULL;
}
pmap_row_t* update_pmap_by_client_info(uint8_t ip_protocol,uint32_t client_ip, uint16_t eth_port)
{
    __gc_pmap(PMAP_TIMEOUT_MS);
    for (int i = 0; i < MAX_PMAP_ROWS; i++)
    {
        uint8_t protocol = pmap.row[i].ip_protocol;
        uint16_t port = pmap.row[i].eth_port;
        uint32_t ip = pmap.row[i].client_ip;
        if (protocol == 0)
        {
            continue;
        }
        if (protocol == ip_protocol && ip == client_ip && port == eth_port)
        {
//printk("HIT update_pmap_by_client_info\r\n");
            pmap.row[i].ts = k_uptime_get_32();
            return &pmap.row[i];
        }
    }
    return NULL;
}
void remove_pmap_by_serevr_info(uint8_t ip_protocol,uint32_t server_ip, uint16_t lte_port)
{
    __gc_pmap(PMAP_TIMEOUT_MS);
    for (int i = 0; i < MAX_PMAP_ROWS; i++)
    {
        uint8_t protocol = pmap.row[i].ip_protocol;
        uint16_t port = pmap.row[i].lte_port;
        uint32_t ip = pmap.row[i].server_ip;
        if (protocol == 0)
        {
            continue;
        }
        if (protocol == ip_protocol && ip == server_ip && port == lte_port)
        {
            pmap.row[i].ip_protocol = 0;
            pmap.row[i].server_ip   = 0;
            pmap.row[i].client_ip   = 0;
            pmap.row[i].lte_port    = 0;
            pmap.row[i].eth_port    = 0;
            pmap.row[i].ts          = 0;
            return;
        }
    }
    return;
}
void remove_pmap_by_client_info(uint8_t ip_protocol,uint32_t client_ip, uint16_t eth_port)
{
    __gc_pmap(PMAP_TIMEOUT_MS);
    for (int i = 0; i < MAX_PMAP_ROWS; i++)
    {
        uint8_t protocol = pmap.row[i].ip_protocol;
        uint16_t port = pmap.row[i].eth_port;
        uint32_t ip = pmap.row[i].client_ip;
        if (protocol == 0)
        {
            continue;
        }
        if (protocol == ip_protocol && ip == client_ip && port == eth_port)
        {
            pmap.row[i].ip_protocol = 0;
            pmap.row[i].server_ip   = 0;
            pmap.row[i].client_ip   = 0;
            pmap.row[i].lte_port    = 0;
            pmap.row[i].eth_port    = 0;
            pmap.row[i].ts          = 0;
            return;
        }
    }
    return;
}
void init_pmap(void)
{
    memset(&pmap,0,sizeof(pmap));
}
pmap_row_t* add_pmap(uint8_t ip_protocol, uint32_t client_ip,uint16_t eth_port,uint32_t server_ip,uint16_t lte_port)
{
    __gc_pmap(PMAP_TIMEOUT_MS);
    pmap_row_t* row = search_pmap_empty();
//printk("empty row : %04x\r\n",(uint32_t)row);
    if (row == NULL) return NULL;
    row->ip_protocol = ip_protocol;
    row->client_ip   = client_ip;
    row->eth_port    = eth_port;
    row->server_ip   = server_ip;
    row->lte_port    = lte_port;
    row->ts          = k_uptime_get_32();
    return row;
}

uint8_t pmap_status(void)
{
    uint32_t cnt = 0;
    for (int i = 0; i < MAX_PMAP_ROWS; i++)
    {
        if (pmap.row[i].ip_protocol == 0)
        {
            continue;
        }
        cnt++;
    }
    return (uint8_t)(cnt * 100 / MAX_PMAP_ROWS);
}
```
